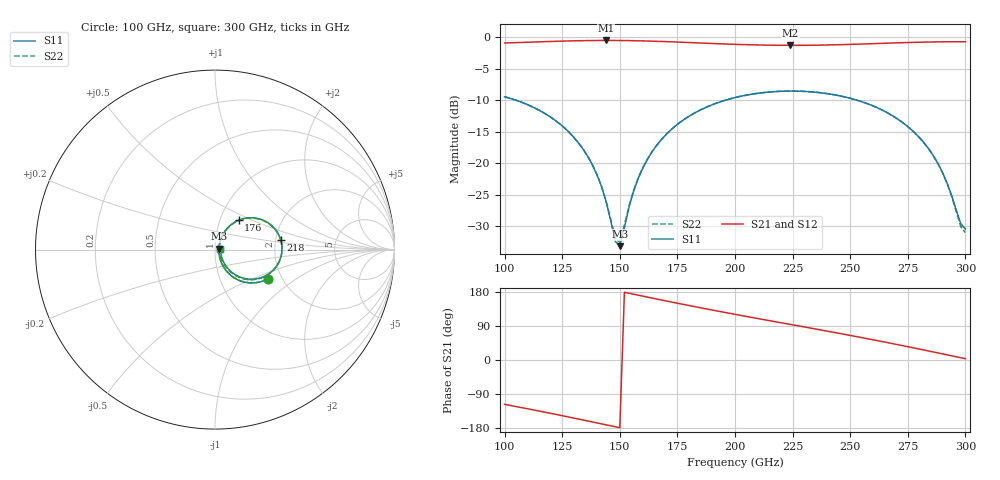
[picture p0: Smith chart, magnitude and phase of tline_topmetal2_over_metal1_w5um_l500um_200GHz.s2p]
#  GHZ S DB R 50
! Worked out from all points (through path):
!   101 points, 100 GHz to 300 GHz, reference 50 ohm
!   highest |S21| = -0.54 dB at 144 GHz (marker M1); lowest = -1.3 dB at 224 GHz (marker M2)
!   group delay of S21, straight-line fit = 3.29 ps
!   lowest |S11| = -33.1 dB at 150 GHz (marker M3), VSWR 1.05, Z = 52.2 + j0.53 ohm
!   |S11| at or under -10 dB: 104.9 GHz to 195.8 GHz (90.98 GHz wide, 60.5 % of centre); 252.9 GHz to end of sweep
!   |S22| runs from -32.5 to -8.6 dB; largest |S21 - S12| = 1.1e-14
!   S11 on the Smith chart (normalised r, x): 100 GHz: 1.69, -0.62; 176 GHz: 1.22, +0.42; 218 GHz: 2.14, +0.26; 300 GHz: 1.06, +0.01
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100  -9.46 -28.8  -0.94 -117.1  -0.94 -117.1  -9.46 -28.8
120  -12.69 -49.8  -0.70 -140.8  -0.70 -140.8  -12.69 -49.7
134  -17.72 -62.4  -0.57 -158.3  -0.57 -158.3  -17.71 -62.0
140  -21.73 -64.1  -0.54 -165.9  -0.54 -165.9  -21.70 -63.2
144  -25.98 -59.0  -0.54 -171.0  -0.54 -171.0  -25.89 -57.5
148  -32.32 -27.2  -0.54 -176.2  -0.54 -176.2  -31.84 -25.3
150  -33.12 13.3  -0.55 -178.7  -0.55 -178.7  -32.49 12.4
154  -26.94 55.2  -0.57 176.2  -0.57 176.2  -26.76 53.2
158  -22.38 62.3  -0.59 171.1  -0.59 171.1  -22.30 60.9
168  -16.27 58.6  -0.70 158.5  -0.70 158.5  -16.24 57.7
176  -13.55 51.3  -0.81 148.6  -0.81 148.6  -13.54 50.6
200  -9.59 26.6  -1.15 120.5  -1.15 120.5  -9.58 26.0
218  -8.62 8.2  -1.30 100.5  -1.30 100.5  -8.62 7.6
224  -8.56 2.1  -1.31 93.9  -1.31 93.9  -8.55 1.5
234  -8.71 -8.1  -1.29 82.9  -1.29 82.9  -8.70 -8.7
252  -9.90 -26.5  -1.14 62.6  -1.14 62.6  -9.89 -27.2
268  -12.38 -42.7  -0.95 43.7  -0.95 43.7  -12.38 -43.5
278  -15.16 -51.7  -0.84 31.4  -0.84 31.4  -15.16 -52.7
286  -18.74 -56.1  -0.77 21.3  -0.77 21.3  -18.76 -57.5
292  -23.07 -53.1  -0.75 13.7  -0.75 13.7  -23.14 -55.1
298  -29.58 -20.9  -0.74 6.0  -0.74 6.0  -30.01 -23.1
300  -30.41 6.5  -0.75 3.5  -0.75 3.5  -30.97 5.9
